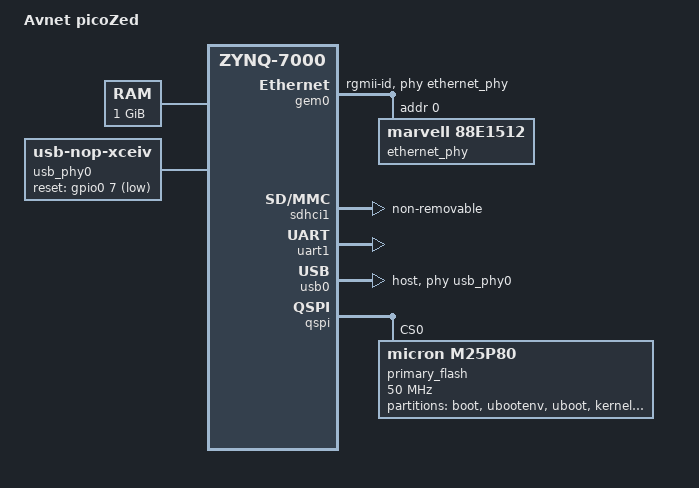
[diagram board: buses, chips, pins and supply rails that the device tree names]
/dts-v1/;
/include/ "zynq-7000.dtsi"
/include/ "zynq-7000-qspi-dummy.dtsi"

/ {
	model = "Avnet picoZed";
	compatible = "avnet,picozed", "xlnx,zynq-7000";

	aliases {
		ethernet0 = &gem0;
		serial0 = &uart1;
	};

	memory {
		device_type = "memory";
		reg = <0x0 0x40000000>;
	};

	chosen {
		bootargs = "earlyprintk";
		stdout-path = "serial0:115200n8";
	};

	usb_phy0: phy0 {
		compatible = "usb-nop-xceiv";
		#phy-cells = <0>;
		reset-gpios = <&gpio0 7 1>; /* MIO 7, GPIO_ACTIVE_LOW */
	};
};

&gem0 {
	status = "okay";
	phy-mode = "rgmii-id";
	phy-handle = <&ethernet_phy>;

	ethernet_phy: ethernet-phy@0 {
		compatible = "marvell,88e1512", "marvell,88e1510";
		device_type = "ethernet-phy";
		reg = <0>;
	};
};

&sdhci1 {
	status = "okay";
	/* SD1 is onnected to a non-removable eMMC flash device */
	non-removable;
};

&uart1 {
	status = "okay";
};

&usb0 {
	status = "okay";
	dr_mode = "host";
	usb-phy = <&usb_phy0>;
};

&qspi {
	status = "okay";
	primary_flash: ps7-qspi@0 {
		#address-cells = <1>;
		#size-cells = <1>;
		compatible = "micron,m25p80", "spansion,s25fl128s", "jedec,spi-nor";
		reg = <0x0>;
		spi-max-frequency = <50000000>;
		/* Example 16M partition table using U-Boot + U-Boot SPL */
		partition@0x0 {
			label = "boot";
			reg = <0x0 0xe0000>;
		};
		partition@0xe0000 {
			label = "ubootenv";
			reg = <0xe0000 0x20000>;
		};
		partition@0x100000 {
			label = "uboot";
			reg = <0x100000 0x100000>;
		};
		partition@0x200000 {
			label = "kernel";
			reg = <0x200000 0x4f0000>;
		};
		partition@0x6f0000 {
			label = "devicetree";
			reg = <0x6f0000 0x10000>;
		};
		partition@0x700000 {
			label = "rootfs";
			reg = <0x700000 0x400000>;
		};
		partition@0xb00000 {
			label = "spare";
			reg = <0xb00000 0x500000>;
		};
	};
};

